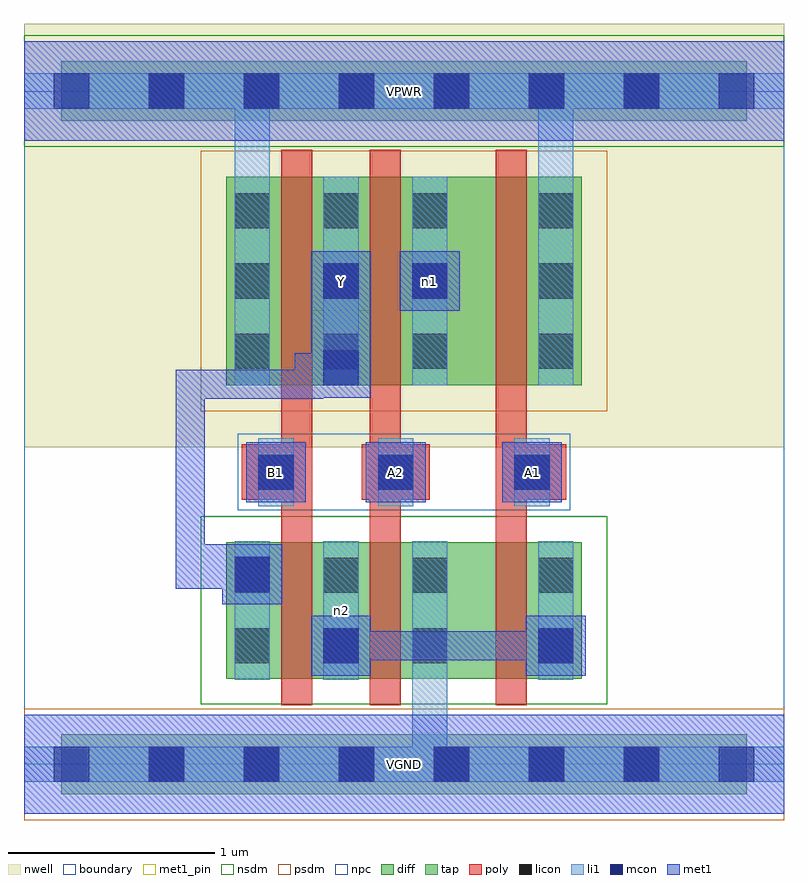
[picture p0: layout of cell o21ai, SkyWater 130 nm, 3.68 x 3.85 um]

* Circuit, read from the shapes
.subckt o21ai A1 A2 B1 VGND VPWR Y n1 n2
XM1 n2 B1 Y VGND sky130_fd_pr__nfet_01v8 w=0.66 l=0.15
XM2 VGND A2 n2 VGND sky130_fd_pr__nfet_01v8 w=0.66 l=0.15
XM3 n2 A1 VGND VGND sky130_fd_pr__nfet_01v8 w=0.66 l=0.15
XM4 Y B1 VPWR VPWR sky130_fd_pr__pfet_01v8 w=1.01 l=0.15
XM5 n1 A2 Y VPWR sky130_fd_pr__pfet_01v8 w=1.01 l=0.15
XM6 VPWR A1 n1 VPWR sky130_fd_pr__pfet_01v8 w=1.01 l=0.15
.ends

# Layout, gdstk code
import gdstk
lib = gdstk.Library(unit=1e-6, precision=1e-09)
def R(c, l, rs):  # rectangles x0, y0, x1, y1
    for r in rs: c.add(gdstk.rectangle(r[:2], r[2:], *l))
def A(c, l, x, y, w, h, nx, ny, dx, dy):  # array of equal rectangles
    R(c, l, [(x+i*dx, y+j*dy, x+i*dx+w, y+j*dy+h) for i in range(nx) for j in range(ny)])
nwell = (64, 20)
diff = (65, 20)
tap = (65, 44)
poly = (66, 20)
licon = (66, 44)
li1 = (67, 20)
mcon = (67, 44)
met1_pin = (68, 16)
met1 = (68, 20)
nsdm = (93, 44)
psdm = (94, 20)
npc = (95, 20)
boundary = (235, 4)

o21ai = lib.new_cell('o21ai')
R(o21ai, nwell, [(0,1.535,3.68,3.585)])
R(o21ai, diff, [(0.98,0.415,2.7,1.075), (0.98,1.835,2.7,2.845)])
R(o21ai, tap, [(0.18,-0.145,3.5,0.145), (0.18,3.115,3.5,3.405)])
R(o21ai, poly, [(1.245,0.285,1.395,2.975), (1.675,0.285,1.825,2.975), (2.285,0.285,2.435,2.975), (1.055,1.28,1.385,1.55), (1.635,1.28,1.965,1.55), (2.295,1.28,2.625,1.55)])
A(o21ai, licon, 0.605, -0.085, 0.17, 0.17, 6, 2, 0.46, 3.26)
A(o21ai, licon, 1.02, 0.49, 0.17, 0.17, 3, 2, 0.43, 0.34)
A(o21ai, licon, 1.02, 1.915, 0.17, 0.17, 3, 3, 0.43, 0.34)
A(o21ai, licon, 2.49, 1.915, 0.17, 0.17, 1, 3, 0, 0.34)
R(o21ai, licon, [(2.49,0.49,2.66,0.66), (2.49,0.83,2.66,1), (1.135,1.33,1.305,1.5), (1.715,1.33,1.885,1.5), (2.375,1.33,2.545,1.5)])
A(o21ai, li1, 1.02, 0.41, 0.17, 0.67, 3, 1, 0.43, 0)
A(o21ai, li1, 1.02, 1.835, 0.17, 1.01, 3, 1, 0.43, 0)
R(o21ai, li1, [(0,-0.085,3.68,0.085), (1.88,-0.085,2.05,1.08), (2.49,0.41,2.66,1.08), (1.135,1.25,1.305,1.58), (1.715,1.25,1.885,1.58), (2.375,1.25,2.545,1.58), (1.02,1.835,1.19,3.345), (2.49,1.835,2.66,2.845), (2.49,1.835,2.66,3.345), (0,3.175,3.68,3.345)])
A(o21ai, mcon, 0.145, -0.085, 0.17, 0.17, 8, 2, 0.46, 3.26)
R(o21ai, mcon, [(1.45,0.49,1.62,0.66), (2.49,0.49,2.66,0.66), (1.02,0.835,1.19,1.005), (1.135,1.33,1.305,1.5), (1.715,1.33,1.885,1.5), (2.375,1.33,2.545,1.5), (1.45,1.835,1.62,2.005), (1.45,2.255,1.62,2.425), (1.88,2.255,2.05,2.425)])
R(o21ai, met1_pin, [(0,-0.24,3.68,0.24), (1.075,1.27,1.365,1.56), (1.655,1.27,1.945,1.56), (2.315,1.27,2.605,1.56), (1.39,2.195,1.68,2.485), (0,3.02,3.68,3.5)])
R(o21ai, met1, [(0,-0.24,3.68,0.24), (1.39,0.43,1.68,0.72), (2.43,0.43,2.72,0.72), (1.465,0.505,1.795,0.645), (1.655,0.505,2.485,0.645), (2.345,0.505,2.645,0.645), (0.96,0.775,1.25,1.065), (0.735,0.85,0.875,1.91), (0.735,0.85,0.99,0.99), (0.85,0.85,1.175,0.99), (0.875,0.85,0.96,1.065), (0.875,0.85,0.96,1.065), (0.875,0.85,0.96,1.065), (0.875,0.85,0.96,1.065), (0.875,0.85,0.96,1.065), (0.875,0.85,0.96,1.065), (1.075,1.27,1.365,1.56), (1.655,1.27,1.945,1.56), (2.315,1.27,2.605,1.56), (0.735,1.77,1.45,1.91), (1.31,1.77,1.45,1.99), (1.39,1.775,1.68,2.065), (1.31,1.85,1.605,1.99), (1.39,1.91,1.45,1.99), (1.39,1.91,1.45,1.99), (1.39,1.91,1.45,1.99), (1.39,1.91,1.45,1.99), (1.39,1.91,1.45,1.99), (1.39,1.91,1.45,1.99), (1.39,1.91,1.45,1.99), (1.39,1.91,1.45,1.99), (1.39,1.99,1.605,2.065), (1.39,1.99,1.605,2.065), (1.39,1.99,1.605,2.065), (1.39,1.99,1.605,2.065), (1.39,1.99,1.605,2.065), (1.39,1.99,1.605,2.065), (1.39,1.99,1.45,2.065), (1.39,1.99,1.45,2.065), (1.39,1.99,1.45,2.065), (1.39,1.99,1.45,2.065), (1.39,1.99,1.45,2.065), (1.39,1.99,1.45,2.065), (1.39,2.065,1.68,2.195), (1.39,2.065,1.68,2.195), (1.39,2.065,1.68,2.195), (1.39,2.065,1.605,2.195), (1.39,2.065,1.605,2.195), (1.39,2.065,1.45,2.195), (1.39,2.065,1.45,2.195), (1.39,2.195,1.68,2.485), (1.82,2.195,2.11,2.485), (0,3.02,3.68,3.5)])
R(o21ai, nsdm, [(0.855,0.29,2.825,1.2), (0,2.99,3.68,3.53)])
R(o21ai, psdm, [(0,-0.27,3.68,0.27), (0.855,1.71,2.825,2.97)])
R(o21ai, npc, [(1.035,1.23,2.645,1.6)])
R(o21ai, boundary, [(0,0,3.68,3.26)])
o21ai.add(gdstk.Label('n2', (1.535,0.745), layer=67, texttype=5))
o21ai.add(gdstk.Label('n1', (1.965,2.34), layer=67, texttype=5))
o21ai.add(gdstk.Label('A1', (2.46,1.415), layer=68, texttype=5))
o21ai.add(gdstk.Label('A2', (1.8,1.415), layer=68, texttype=5))
o21ai.add(gdstk.Label('B1', (1.22,1.415), layer=68, texttype=5))
o21ai.add(gdstk.Label('Y', (1.535,2.34), layer=68, texttype=5))
o21ai.add(gdstk.Label('VPWR', (1.84,3.26), layer=68, texttype=5))
o21ai.add(gdstk.Label('VGND', (1.84,0), layer=68, texttype=5))
o21ai.add(gdstk.Label('A1', (2.46,1.415), layer=68, texttype=16))
o21ai.add(gdstk.Label('A2', (1.8,1.415), layer=68, texttype=16))
o21ai.add(gdstk.Label('B1', (1.22,1.415), layer=68, texttype=16))
o21ai.add(gdstk.Label('Y', (1.535,2.34), layer=68, texttype=16))
o21ai.add(gdstk.Label('VPWR', (1.84,3.26), layer=68, texttype=16))
o21ai.add(gdstk.Label('VGND', (1.84,0), layer=68, texttype=16))

lib.write_gds('o21ai.gds')
